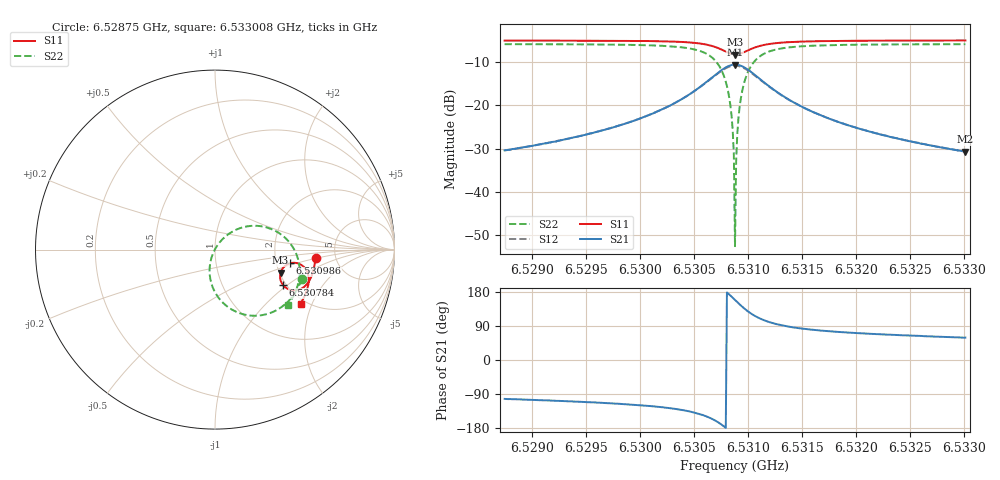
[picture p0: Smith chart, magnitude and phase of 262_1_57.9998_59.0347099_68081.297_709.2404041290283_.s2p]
#  HZ  S  RI  R  50.00
! Rohde & Schwarz Vector Network Analyzer
! Rohde-Schwarz,ZNB20-2Port,1311601062101988,3.16
! Created: UTC 3/21/2024, 1:02:00 AM
! freq[Hz]  re:S11  im:S11  re:S21  im:S21  re:S12  im:S12  re:S22  im:S22
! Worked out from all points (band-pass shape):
!   401 points, 6.52875 GHz to 6.533008 GHz, reference 50 ohm
!   highest |S21| = -10.56 dB at 6.530879 GHz (marker M1); lowest = -30.7 dB at 6.533008 GHz (marker M2)
!   |S21| within 3 dB of the highest: 6.530667 GHz to 6.531093 GHz (425.4 kHz wide, 0.00651 % of centre)
!   lowest |S11| = -8.2 dB at 6.530879 GHz (marker M3), VSWR 2.26, Z = 101 - j30.7 ohm
!   |S11| at or under -10 dB: nowhere
!   |S22| runs from -52.6 to -5.8 dB; largest |S21 - S12| = 0.012
!   S11 on the Smith chart (normalised r, x): 6.52875 GHz: 3.50, -0.47; 6.530784 GHz: 1.92, -0.92; 6.530986 GHz: 2.38, -0.44; 6.533008 GHz: 1.87, -1.65
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6.5287503e9  0.5602 -0.0464  -0.0066 -0.0294  -0.00726 -0.0293  0.4841 -0.1639
6.5294635e9  0.5509 -0.1056  -0.0157 -0.0418  -0.0166 -0.0415  0.4536 -0.2285
6.5301768e9  0.5243 -0.1757  -0.0481 -0.0719  -0.0502 -0.0706  0.3742 -0.3177
6.5306026e9  0.4557 -0.2262  -0.1525 -0.0974  -0.1548 -0.0913  0.174 -0.3641
6.530709e9  0.4119 -0.2221  -0.22 -0.0721  -0.2193 -0.063  0.0602 -0.3104
6.5307836e9  0.3778 -0.1959  -0.2698 -0.0156  -0.2645 -0.00581  -0.0141 -0.2067
6.5308155e9  0.3672 -0.1766  -0.2831 0.0219  -0.2754 0.0304  -0.029 -0.1424
6.5308368e9  0.3632 -0.1613  -0.2864 0.0503  -0.2773 0.0574  -0.0293 -0.0953
6.5308474e9  0.3625 -0.1532  -0.2859 0.0648  -0.2764 0.0713  -0.0258 -0.0715
6.5308581e9  0.3626 -0.145  -0.2841 0.0796  -0.2741 0.0852  -0.0204 -0.0476
6.5308687e9  0.3637 -0.1369  -0.2809 0.0943  -0.2704 0.099  -0.0122 -0.0242
6.5308794e9  0.3653 -0.1288  -0.276 0.1087  -0.2655 0.1123  -0.00183 -0.00147
6.53089e9  0.3683 -0.121  -0.2698 0.1225  -0.2594 0.1252  0.0109 0.0199
6.5309007e9  0.3717 -0.1134  -0.2623 0.1355  -0.2518 0.1375  0.0254 0.0398
6.5309113e9  0.376 -0.1064  -0.2535 0.1479  -0.2435 0.1487  0.0418 0.058
6.5309326e9  0.3865 -0.0943  -0.2333 0.1689  -0.224 0.1684  0.0787 0.0888
6.5309858e9  0.4184 -0.0762  -0.175 0.2  -0.1685 0.1974  0.1801 0.1295
6.5310603e9  0.4602 -0.0763  -0.1021 0.2022  -0.0986 0.1994  0.3022 0.1187
6.5311668e9  0.4965 -0.0979  -0.0394 0.1725  -0.0377 0.1708  0.4031 0.0534
6.5315926e9  0.5222 -0.1766  0.0148 0.0833  0.0159 0.0831  0.4719 -0.1334
6.5323059e9  0.5036 -0.2488  0.017 0.0401  0.0178 0.0397  0.4428 -0.2475
6.5330085e9  0.4769 -0.301  0.0149 0.0251  0.0155 0.0249  0.4075 -0.3077
